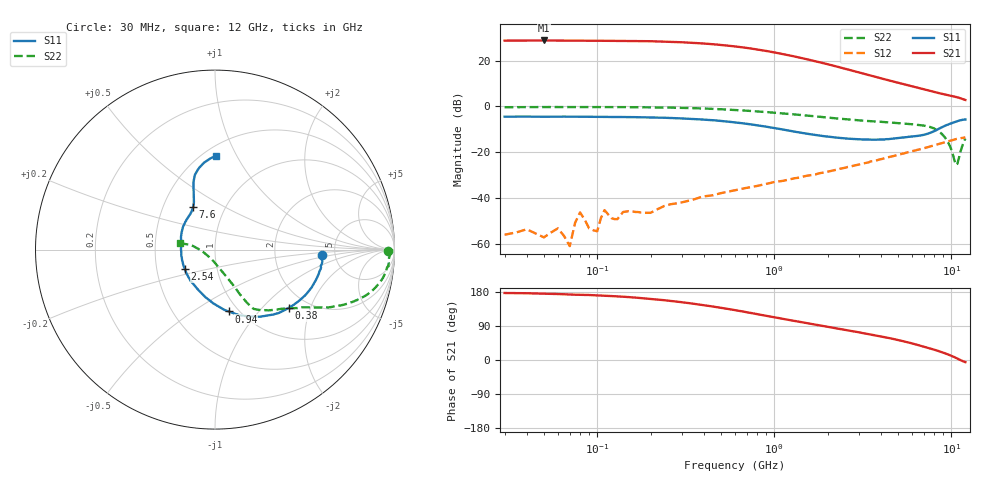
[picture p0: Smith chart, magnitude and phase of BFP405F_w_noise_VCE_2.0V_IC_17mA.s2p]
! Infineon Technologies  Discrete & RF Semiconductors
! BFP405F
! VCE =  2.0 V,  IC =  17 mA
! Common Emitter S-Parameters:  Nov 2015
# GHz  S  MA  R  50
!  f  S11  S21  S12  S22
! GHz  MAG  ANG  MAG  ANG  MAG  ANG  MAG  ANG
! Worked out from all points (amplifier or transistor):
!   239 points, 30 MHz to 12 GHz, reference 50 ohm
!   highest |S21| = 28.8 dB at 50 MHz (marker M1)
!   |S21| within 3 dB of that: start of sweep to 661.4 MHz
!   unconditionally stable (mu >= 1): 1.726 GHz to end of sweep
!   at 300 MHz: K = 0.31, MSG = 34.9 dB, |S12| = -41.8 dB
!   at 1.88 GHz: K = 1.04, MAG = 22.6 dB, |S12| = -28.9 dB
!   at 12 GHz: K = 1.39, MAG = 4.4 dB, |S12| = -13.5 dB
!   lowest NFmin = 2.08 dB at 450 MHz
!   S11 on the Smith chart (normalised r, x): 30 MHz: 3.96, -0.36; 380 MHz: 1.60, -1.43; 940 MHz: 0.90, -0.71; 2.54 GHz: 0.70, -0.16; 7.6 GHz: 0.71, +0.36; 12 GHz: 0.58, +0.83
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0.03  0.5993 -2.8  27.25 176.8  0.0016 105.3  0.9647 -0.4
0.05  0.5966 -5.2  27.51 174.9  0.0014 106.1  0.9715 -1.5
0.06  0.6021 -6.2  27.27 174.1  0.0022 79.5  0.9717 -1.7
0.07  0.6 -7.8  27.27 172.7  0.0009 104.0  0.973 -2.1
0.08  0.596 -8.8  27.12 171.9  0.0049 87.8  0.9709 -2.7
0.085  0.5976 -9.2  27.16 171.7  0.0034 77.5  0.9708 -2.9
0.1  0.598 -10.6  27.05 170.5  0.0019 83.7  0.9732 -3.7
0.11  0.5938 -12.0  27.01 169.5  0.0055 103.0  0.9693 -4.1
0.15  0.5884 -16.2  26.87 166.1  0.0052 100.8  0.9642 -5.8
0.24  0.5677 -25.3  25.88 157.7  0.0068 87.0  0.9493 -9.5
0.3  0.5489 -31.2  25.14 152.5  0.0081 75.9  0.9328 -11.6
0.38  0.5232 -38.4  23.88 146.2  0.0104 77.9  0.9099 -14.2
0.6  0.45 -56.2  20.38 131.4  0.0149 72.7  0.8379 -19.7
0.7  0.419 -62.9  18.93 126.0  0.0169 69.3  0.8087 -21.5
0.94  0.3532 -77.5  15.78 115.1  0.0213 71.4  0.7454 -25.0
1.3  0.2827 -96.6  12.31 102.9  0.0272 69.7  0.6712 -28.7
1.64  0.2442 -112.1  10.05 94.8  0.0322 69.8  0.6182 -31.4
2.54  0.2004 -147.0  6.577 79.1  0.0467 67.8  0.5264 -38.5
4.5  0.196 165.5  3.657 57.5  0.0801 61.7  0.4494 -48.9
7.6  0.2663 117.2  2.167 30.4  0.1345 48.5  0.356 -58.5
10.6  0.4658 100.7  1.617 5.8  0.1941 31.5  0.0535 -119.9
12  0.5206 89.2  1.385 -5.7  0.2119 23.2  0.2003 169.8
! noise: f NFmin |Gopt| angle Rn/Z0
0.45  2.08  0.07  0  0.34
0.9  2.1  0.06  2  0.36
1.5  2.15  0.05  1  0.23
1.9  2.21  0.03  -15  0.22
2.4  2.35  0.02  -69  0.34
3  2.44  0.03  -103  0.11
3.5  2.5  0.05  -109  0.28
4.5  2.72  0.11  -100  0.41
5.5  3  0.19  -88  0.37
